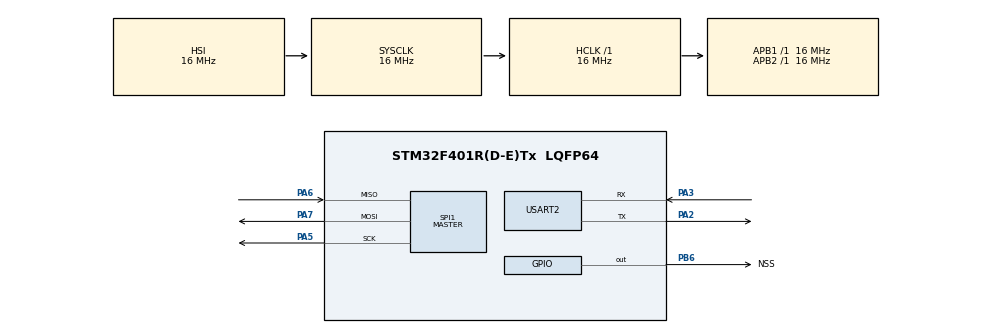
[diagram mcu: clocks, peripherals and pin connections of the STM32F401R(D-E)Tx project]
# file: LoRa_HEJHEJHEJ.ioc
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Mcu.Family=STM32F4
Mcu.Name=STM32F401R(D-E)Tx
Mcu.Package=LQFP64
NVIC.PriorityGroup=NVIC_PRIORITYGROUP_4
PA2.Mode=Asynchronous
PA2.Signal=USART2_TX
PA3.Mode=Asynchronous
PA3.Signal=USART2_RX
PA5.Mode=Full_Duplex_Master
PA5.Signal=SPI1_SCK
PA6.Mode=Full_Duplex_Master
PA6.Signal=SPI1_MISO
PA7.Mode=Full_Duplex_Master
PA7.Signal=SPI1_MOSI
PB6.GPIO_Label=NSS
PB6.Signal=GPIO_Output
ProjectManager.HeapSize=0x200
ProjectManager.StackSize=0x400
ProjectManager.TargetToolchain=STM32CubeIDE
RCC.AHBFreq_Value=16000000
RCC.APB1Freq_Value=16000000
RCC.APB2Freq_Value=16000000
RCC.CortexFreq_Value=16000000
RCC.HSE_VALUE=25000000
RCC.HSI_VALUE=16000000
RCC.LSE_VALUE=32768
RCC.SYSCLKFreq_VALUE=16000000
RCC.VCOOutputFreq_Value=192000000
SPI1.Direction=SPI_DIRECTION_2LINES
SPI1.Mode=SPI_MODE_MASTER
SPI1.VirtualType=VM_MASTER
USART2.VirtualMode=VM_ASYNC
board=custom

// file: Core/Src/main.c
/* USER CODE BEGIN Header */
/**
  ******************************************************************************
  * @file           : main.c
  * @brief          : Main program body
  ******************************************************************************
  * @attention
  *
  * Copyright (c) 2025 STMicroelectronics.
  * All rights reserved.
  *
  * This software is licensed under terms that can be found in the LICENSE file
  * in the root directory of this software component.
  * If no LICENSE file comes with this software, it is provided AS-IS.
  *
  ******************************************************************************
  */
/* USER CODE END Header */
#include "main.h"

/* USER CODE BEGIN Includes */
#include <stdio.h>
#include <string.h>
#include "sx1278.h"

/* USER CODE END Includes */

SPI_HandleTypeDef hspi1;

UART_HandleTypeDef huart2;

void SystemClock_Config(void);
static void MX_GPIO_Init(void);
static void MX_SPI1_Init(void);
static void MX_USART2_UART_Init(void);

/* USER CODE BEGIN 0 */
uint8_t lora_read(uint8_t addr)
{
    uint8_t reg_val = 0;
    uint8_t tx[2] = { addr & 0x7F, 0x00 }; // send address, then dummy
    uint8_t rx[2] = {0};
    HAL_Delay(10);

    HAL_GPIO_WritePin(NSS_GPIO_Port, NSS_Pin, GPIO_PIN_RESET);
    HAL_SPI_TransmitReceive(&hspi1, tx, rx, 2, HAL_MAX_DELAY);
    HAL_GPIO_WritePin(NSS_GPIO_Port, NSS_Pin, GPIO_PIN_SET);
    HAL_Delay(10);

    reg_val = rx[1]; // second byte is the register value
    return reg_val;
}

void lora_write(uint8_t addr, uint8_t data){
    uint8_t address_byte = (addr & 0x7F) | 0x80; // Set bit 7 for write operation (wnr=1)
    uint8_t tx_buffer[2] = {address_byte, data};

    HAL_GPIO_WritePin(NSS_GPIO_Port, NSS_Pin, 0);
    HAL_Delay(10);

    // Transmit address byte (with write bit) followed by data
    HAL_SPI_Transmit(&hspi1, tx_buffer, 2, 1000);
    while(HAL_SPI_GetState(&hspi1) != HAL_SPI_STATE_READY);

    HAL_GPIO_WritePin(NSS_GPIO_Port, NSS_Pin, 1);
    HAL_Delay(10);
}

void print(char *msg){
	HAL_UART_Transmit(&huart2, (uint8_t*)msg, strlen(msg), 500);
	HAL_Delay(10);
}

void lora_set_lora_mode(void)
{
    uint8_t op_mode;

    // 1. Read current RegOpMode
    op_mode = lora_read(REG_OP_MODE);

    // 2. Put device into sleep mode (Mode bits = 000)
    op_mode &= 0xF8;       // Clear Mode[2:0]
    op_mode |= 0x00;       // Set to Sleep mode
    lora_write(REG_OP_MODE, op_mode);

    HAL_Delay(10);         // Small delay for mode change

    // 3. Set LongRangeMode = 1 (LoRa mode)
    op_mode = lora_read(REG_OP_MODE);
    op_mode |= (1 << 7);   // Set bit 7 = 1
    lora_write(REG_OP_MODE, op_mode);

    // 4. Return to Standby mode (Mode bits = 001)
    op_mode &= 0xF8;       // Clear Mode bits
    op_mode |= 0x01;       // Set to Standby
    lora_write(REG_OP_MODE, op_mode);

    HAL_Delay(10);
}

#define REG_OP_MODE     0x01

void lora_set_mode_tx(void)
{
    uint8_t op_mode;

    // 1. Read current operation mode register
    op_mode = lora_read(REG_OP_MODE);

    // 2. Ensure LongRangeMode is LoRa (bit 7 = 1)
    if (!(op_mode & (1 << 7))) {
        print("Not in LoRa mode! Aborting TX mode set.\r\n");
        return;
    }

    // 3. Clear old mode bits (2:0) and set to TX mode (011)
    op_mode &= 0xF8;   // clear bits 2–0
    op_mode |= 0x03;   // set bits to 011 → Transmit mode
    lora_write(REG_OP_MODE, op_mode);

    HAL_Delay(1); // small delay for the mode transition
}

/* USER CODE END 0 */

int main(void)
{

  /* MCU Configuration--------------------------------------------------------*/

  /* Reset of all peripherals, Initializes the Flash interface and the Systick. */
  HAL_Init();

  /* Configure the system clock */
  SystemClock_Config();

  /* Initialize all configured peripherals */
  MX_GPIO_Init();
  MX_SPI1_Init();
  MX_USART2_UART_Init();
  /* USER CODE BEGIN 2 */

  uint8_t tx_data[255];
  uint8_t rx_data[255];
  char string[64];
  uint8_t val;

  lora_set_lora_mode();
  lora_write(0x00, 0xAE);
  lora_set_mode_tx();
  lora_write(0x00, 0xEA);
  val = lora_read(REG_OP_MODE);
  snprintf(string, sizeof(string), "RegOpMode: 0x%02X\r\n", val);
  print(string);
  /* USER CODE END 2 */

  /* Infinite loop */
  while (1)
  {
	  // Fill the buffer with test pattern (e.g., 0x00, 0x01, 0x02, ...)
	  /*
	  for (uint16_t i = 0; i < 255; i++) {
	      tx_data[i] = i;
	  }

	  // Write 255 bytes into the FIFO
	  for (uint16_t i = 0; i < 250; i++) {
	      lora_write(0x00, tx_data[i]);
	  }

	  // Optional: print confirmation
	  print("255 bytes written to FIFO\r\n");

	  // Read 255 bytes back from FIFO
	  for (uint16_t i = 0; i < 254; i++) {
	      rx_data[i] = lora_read(0x00);
	  }

	  // Compare and print result
	  for (uint16_t i = 0; i < 255; i++) {
	      snprintf(string, sizeof(string), "Byte %03d: TX=0x%02X  RX=0x%02X\r\n", i, tx_data[i], rx_data[i]);
	      print(string);
	  }
	  */

	  /* FIFORegAdrrPointer increment
	  val = lora_read(0x0D);
      snprintf(string, sizeof(string), "Reg1: 0x%02X\r\n", val);
      print(string);

      lora_write(0x00, 0xEE);

	  val = lora_read(0x0D);
      snprintf(string, sizeof(string), "Reg2: 0x%02X\r\n", val);
      print(string);
*/

      HAL_Delay(10000);
  }
  /* USER CODE END 3 */
}

void SystemClock_Config(void)
{
  RCC_OscInitTypeDef RCC_OscInitStruct = {0};
  RCC_ClkInitTypeDef RCC_ClkInitStruct = {0};

  /** Configure the main internal regulator output voltage
  */
  __HAL_RCC_PWR_CLK_ENABLE();
  __HAL_PWR_VOLTAGESCALING_CONFIG(PWR_REGULATOR_VOLTAGE_SCALE2);

  /** Initializes the RCC Oscillators according to the specified parameters
  * in the RCC_OscInitTypeDef structure.
  */
  RCC_OscInitStruct.OscillatorType = RCC_OSCILLATORTYPE_HSI;
  RCC_OscInitStruct.HSIState = RCC_HSI_ON;
  RCC_OscInitStruct.HSICalibrationValue = RCC_HSICALIBRATION_DEFAULT;
  RCC_OscInitStruct.PLL.PLLState = RCC_PLL_NONE;
  if (HAL_RCC_OscConfig(&RCC_OscInitStruct) != HAL_OK)
  {
    Error_Handler();
  }

  /** Initializes the CPU, AHB and APB buses clocks
  */
  RCC_ClkInitStruct.ClockType = RCC_CLOCKTYPE_HCLK|RCC_CLOCKTYPE_SYSCLK
                              |RCC_CLOCKTYPE_PCLK1|RCC_CLOCKTYPE_PCLK2;
  RCC_ClkInitStruct.SYSCLKSource = RCC_SYSCLKSOURCE_HSI;
  RCC_ClkInitStruct.AHBCLKDivider = RCC_SYSCLK_DIV1;
  RCC_ClkInitStruct.APB1CLKDivider = RCC_HCLK_DIV1;
  RCC_ClkInitStruct.APB2CLKDivider = RCC_HCLK_DIV1;

  if (HAL_RCC_ClockConfig(&RCC_ClkInitStruct, FLASH_LATENCY_0) != HAL_OK)
  {
    Error_Handler();
  }
}

static void MX_SPI1_Init(void)
{

  /* SPI1 parameter configuration*/
  hspi1.Instance = SPI1;
  hspi1.Init.Mode = SPI_MODE_MASTER;
  hspi1.Init.Direction = SPI_DIRECTION_2LINES;
  hspi1.Init.DataSize = SPI_DATASIZE_8BIT;
  hspi1.Init.CLKPolarity = SPI_POLARITY_LOW;
  hspi1.Init.CLKPhase = SPI_PHASE_1EDGE;
  hspi1.Init.NSS = SPI_NSS_SOFT;
  hspi1.Init.BaudRatePrescaler = SPI_BAUDRATEPRESCALER_2;
  hspi1.Init.FirstBit = SPI_FIRSTBIT_MSB;
  hspi1.Init.TIMode = SPI_TIMODE_DISABLE;
  hspi1.Init.CRCCalculation = SPI_CRCCALCULATION_DISABLE;
  hspi1.Init.CRCPolynomial = 10;
  if (HAL_SPI_Init(&hspi1) != HAL_OK)
  {
    Error_Handler();
  }

}

static void MX_USART2_UART_Init(void)
{

  huart2.Instance = USART2;
  huart2.Init.BaudRate = 115200;
  huart2.Init.WordLength = UART_WORDLENGTH_8B;
  huart2.Init.StopBits = UART_STOPBITS_1;
  huart2.Init.Parity = UART_PARITY_NONE;
  huart2.Init.Mode = UART_MODE_TX_RX;
  huart2.Init.HwFlowCtl = UART_HWCONTROL_NONE;
  huart2.Init.OverSampling = UART_OVERSAMPLING_16;
  if (HAL_UART_Init(&huart2) != HAL_OK)
  {
    Error_Handler();
  }

}

static void MX_GPIO_Init(void)
{
  GPIO_InitTypeDef GPIO_InitStruct = {0};

  /* GPIO Ports Clock Enable */
  __HAL_RCC_GPIOA_CLK_ENABLE();
  __HAL_RCC_GPIOB_CLK_ENABLE();

  /*Configure GPIO pin Output Level */
  HAL_GPIO_WritePin(NSS_GPIO_Port, NSS_Pin, GPIO_PIN_RESET);

  /*Configure GPIO pin : NSS_Pin */
  GPIO_InitStruct.Pin = NSS_Pin;
  GPIO_InitStruct.Mode = GPIO_MODE_OUTPUT_PP;
  GPIO_InitStruct.Pull = GPIO_NOPULL;
  GPIO_InitStruct.Speed = GPIO_SPEED_FREQ_LOW;
  HAL_GPIO_Init(NSS_GPIO_Port, &GPIO_InitStruct);

}

void Error_Handler(void)
{
  __disable_irq();
  while (1)
  {
  }
}
